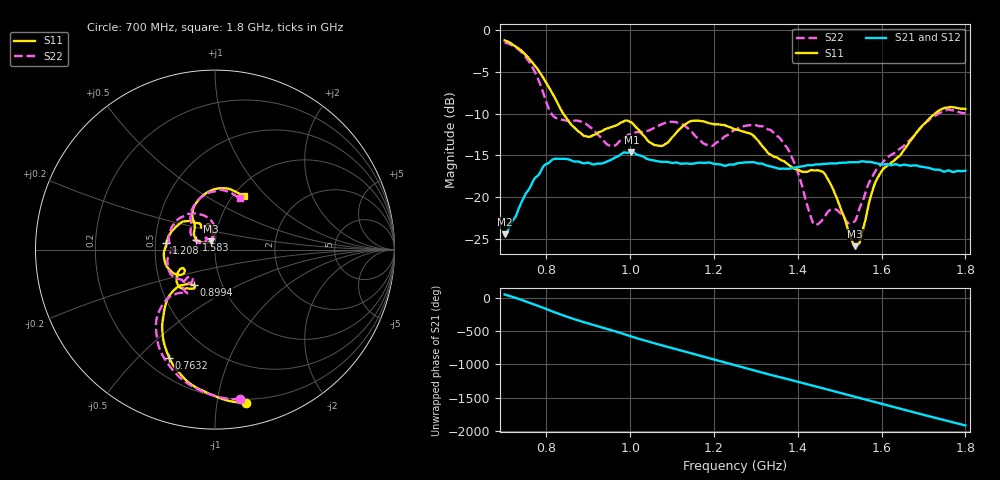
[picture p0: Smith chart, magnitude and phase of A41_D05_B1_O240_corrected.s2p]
! Created with skrf 1.9.0 (http://scikit-rf.org).
# Hz S RI R 50.0
!freq ReS11 ImS11 ReS21 ImS21 ReS12 ImS12 ReS22 ImS22
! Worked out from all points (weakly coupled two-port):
!   1601 points, 700 MHz to 1.8 GHz, reference 50 ohm
!   highest |S21| = -14.57 dB at 1.002 GHz (marker M1); lowest = -24.5 dB at 700.7 MHz (marker M2)
!   lowest |S11| = -25.9 dB at 1.537 GHz (marker M3), VSWR 1.11, Z = 47.6 + j4.34 ohm
!   |S11| at or under -10 dB: 840.3 MHz to 1.727 GHz (886.6 MHz wide, 69.1 % of centre)
!   |S22| runs from -23.3 to -1.5 dB; largest |S21 - S12| = 0.0035
!   S11 on the Smith chart (normalised r, x): 700 MHz: 0.17, -1.21; 763.2 MHz: 0.30, -0.62; 899.4 MHz: 0.73, -0.31; 1.208 GHz: 0.57, +0.04; 1.583 GHz: 0.81, +0.09; 1.8 GHz: 1.12, +0.75
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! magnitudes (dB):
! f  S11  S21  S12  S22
! 700 MHz  -1.2  -24.5  -24.2  -1.5
! 700.7 MHz  -1.2  -24.5  -24.2  -1.5
! 763.2 MHz  -3.7  -18.6  -18.6  -4.1
! 815.5 MHz  -7.7  -15.5  -15.5  -10.2
! 883.6 MHz  -12.4  -15.9  -15.8  -11.0
! 899.4 MHz  -12.8  -15.9  -15.9  -11.4
! 952.3 MHz  -11.6  -15.6  -15.6  -13.8
! 1.002 GHz  -11.0  -14.6  -14.7  -12.5
! 1.067 GHz  -13.8  -15.7  -15.7  -11.5
! 1.143 GHz  -10.9  -16.0  -16.0  -12.0
! 1.208 GHz  -11.3  -16.0  -16.1  -13.4
! 1.25 GHz  -11.9  -16.1  -16.0  -11.9
! 1.358 GHz  -15.5  -16.6  -16.5  -13.0
! 1.394 GHz  -16.6  -16.5  -16.4  -16.1
! 1.434 GHz  -16.7  -16.2  -16.1  -22.8
! 1.472 GHz  -17.9  -16.0  -16.0  -21.7
! 1.537 GHz  -25.9  -15.8  -15.8  -22.9
! 1.55 GHz  -25.1  -15.7  -15.7  -21.0
! 1.583 GHz  -18.5  -15.9  -15.9  -17.1
! 1.617 GHz  -16.1  -16.1  -16.1  -15.1
! 1.733 GHz  -9.8  -16.7  -16.7  -10.1
! 1.8 GHz  -9.4  -16.8  -16.8  -10.0
